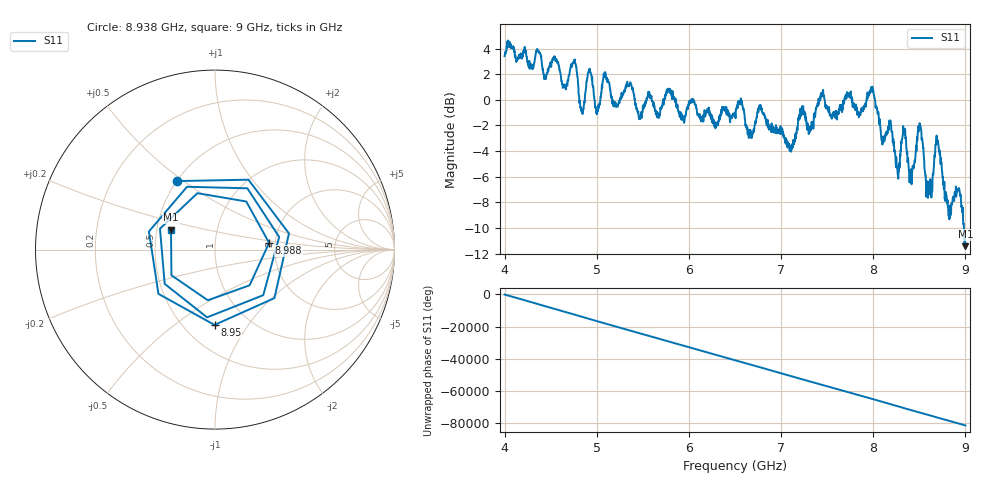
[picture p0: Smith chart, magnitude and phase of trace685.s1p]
! Created with skrf 1.8.0 (http://scikit-rf.org).
# Hz S RI R 50.0
!freq ReS11 ImS11
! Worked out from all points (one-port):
!   1601 points, 4 GHz to 9 GHz, reference 50 ohm
!   lowest |S11| = -11.4 dB at 9 GHz (marker M1), VSWR 1.74, Z = 29.7 + j7.07 ohm
!   |S11| at or under -10 dB: 8.984846 GHz to end of sweep
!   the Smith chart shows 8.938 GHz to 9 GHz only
!   S11 on the Smith chart (normalised r, x): 8.938 GHz: 0.50, +0.47; 8.95 GHz: 0.70, -0.71; 8.988 GHz: 1.85, +0.15; 9 GHz: 0.59, +0.14
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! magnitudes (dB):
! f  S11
! 4 GHz  3.4
! 4.547 GHz  3.3
! 4.625 GHz  1.2
! 4.753 GHz  3.0
! 4.838 GHz  -0.8
! 4.919 GHz  2.4
! 5 GHz  -0.9
! 5.088 GHz  1.8
! 5.25 GHz  0.0
! 5.875 GHz  -0.4
! 6.5 GHz  -1.0
! 7.125 GHz  -3.6
! 7.222 GHz  -1.0
! 7.75 GHz  0.2
! 7.988 GHz  0.6
! 8.194 GHz  -2.0
! 8.262 GHz  -5.4
! 8.328 GHz  -2.4
! 8.375 GHz  -4.6
! 8.419 GHz  -5.5
! 8.506 GHz  -1.9
! 8.597 GHz  -7.0
! 8.7 GHz  -3.1
! 8.822 GHz  -8.4
! 8.938 GHz  -7.2
! 8.95 GHz  -7.5
! 8.988 GHz  -10.4
! 9 GHz  -11.4
